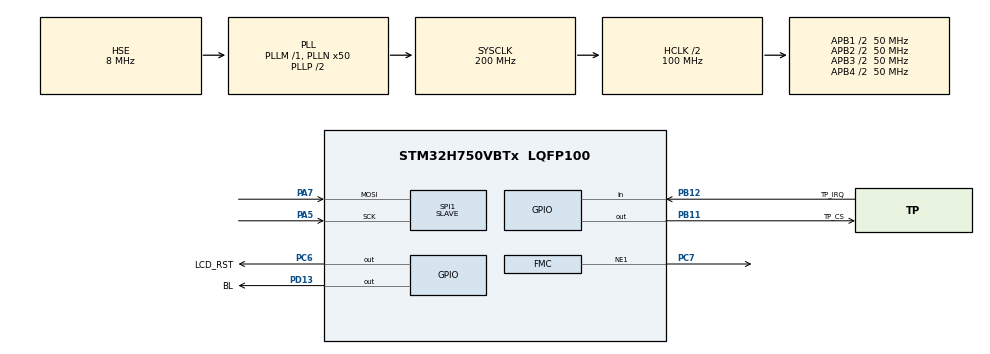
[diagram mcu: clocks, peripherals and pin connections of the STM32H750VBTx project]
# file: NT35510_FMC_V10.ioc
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Mcu.Family=STM32H7
Mcu.Name=STM32H750VBTx
Mcu.Package=LQFP100
NVIC.PriorityGroup=NVIC_PRIORITYGROUP_4
PA5.Mode=RX_Only_Simplex_Unidirect_Slave
PA5.Signal=SPI1_SCK
PA7.Mode=RX_Only_Simplex_Unidirect_Slave
PA7.Signal=SPI1_MOSI
PB11.GPIO_Label=TP_CS
PB11.Signal=GPIO_Output
PB12.GPIO_Label=TP_IRQ
PB12.Signal=GPIO_Input
PC6.GPIO_Label=LCD_RST
PC6.Signal=GPIO_Output
PC7.Mode=NorPsramChipSelect1_1
PC7.Signal=FMC_NE1
PD13.GPIO_Label=BL
PD13.Signal=GPIO_Output
PH0-OSC_IN\ (PH0).Mode=HSE-External-Oscillator
PH0-OSC_IN\ (PH0).Signal=RCC_OSC_IN
PH1-OSC_OUT\ (PH1).Mode=HSE-External-Oscillator
PH1-OSC_OUT\ (PH1).Signal=RCC_OSC_OUT
ProjectManager.HeapSize=0x200
ProjectManager.StackSize=0x400
ProjectManager.TargetToolchain=STM32CubeIDE
RCC.ADCFreq_Value=240000000
RCC.APB1Freq_Value=50000000
RCC.APB2Freq_Value=50000000
RCC.APB3Freq_Value=50000000
RCC.APB4Freq_Value=50000000
RCC.CortexFreq_Value=200000000
RCC.D1PPRE=RCC_APB3_DIV2
RCC.D2PPRE1=RCC_APB1_DIV2
RCC.D2PPRE2=RCC_APB2_DIV2
RCC.D3PPRE=RCC_APB4_DIV2
RCC.DIVM1=1
RCC.DIVM2=1
RCC.DIVM3=1
RCC.DIVN1=50
RCC.DIVN2=60
RCC.DIVN3=24
RCC.HCLKFreq_Value=100000000
RCC.HPRE=RCC_HCLK_DIV2
RCC.HSE_VALUE=8000000
RCC.PLL2FRACN=0
RCC.PLL3FRACN=0
RCC.PLLFRACN=0
RCC.PLLSourceVirtual=RCC_PLLSOURCE_HSE
RCC.SYSCLKFreq_VALUE=200000000
RCC.SYSCLKSource=RCC_SYSCLKSOURCE_PLLCLK
RCC.USBFreq_Value=200000000
SPI1.Direction=SPI_DIRECTION_2LINES_RXONLY
SPI1.Mode=SPI_MODE_SLAVE
SPI1.VirtualType=VM_SLAVE
board=custom

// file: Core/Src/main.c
/* USER CODE BEGIN Header */
/**
  ******************************************************************************
  * @file           : main.c
  * @brief          : Main program body
  ******************************************************************************
  * @attention
  *
  * <h2><center>&copy; Copyright (c) 2020 STMicroelectronics.
  * All rights reserved.</center></h2>
  *
  * This software component is licensed by ST under BSD 3-Clause license,
  * the "License"; You may not use this file except in compliance with the
  * License. You may obtain a copy of the License at:
  *                        opensource.org/licenses/BSD-3-Clause
  *
  ******************************************************************************
  */
/* USER CODE END Header */
#include "main.h"
#include "spi.h"
#include "gpio.h"
#include "fmc.h"

void SystemClock_Config(void);

/* USER CODE BEGIN 0 */
uint16_t colors[]={YELLOW,BLUE,RED,GREEN};
char *colors_desc[]={"Yellow","Blue","Red","Green"};
volatile uint8_t fps_test_run=0;

/*
Функция не учитывает все множество вариантов тактирования.
Предполагается, что тактируется от HSE, а тактирование FMC от PLL2R
*/
uint32_t get_fmc_clock(void){
	uint32_t div_m2,div_n2,div_r2;
	uint32_t fmc_clock;

	div_m2 = ( (RCC->PLLCKSELR & RCC_PLLCKSELR_DIVM2_Msk) >> RCC_PLLCKSELR_DIVM2_Pos);
	div_n2 = ( (RCC->PLL2DIVR & RCC_PLL2DIVR_N2_Msk) >> RCC_PLL2DIVR_N2_Pos) + 1;
	div_r2 = ( (RCC->PLL2DIVR & RCC_PLL2DIVR_R2_Msk) >> RCC_PLL2DIVR_R2_Pos) + 1;

	fmc_clock = ( (RCC_HSE / div_m2) * div_n2 ) / div_r2;
	return fmc_clock;
}
/* USER CODE END 0 */

int main(void)
{

  /* MCU Configuration--------------------------------------------------------*/

  /* Reset of all peripherals, Initializes the Flash interface and the Systick. */
  HAL_Init();

  /* Configure the system clock */
  SystemClock_Config();

  /* Initialize all configured peripherals */
  MX_GPIO_Init();
  MX_FMC_Init();
  MX_SPI1_Init();
  /* USER CODE BEGIN 2 */

	uint32_t fps;
	uint32_t color_index;

#ifndef FMC_REMAP_BANK
	MPU_Config();
#endif

	RCC_init();
	dwt_init();
	Delay_Init();
	timer2_init();

	SSD1963_Init(); //????????????????????

  /* USER CODE END 2 */

  /* Infinite loop */
  while (1)
  {

  }
}

void SystemClock_Config(void)
{
  RCC_OscInitTypeDef RCC_OscInitStruct = {0};
  RCC_ClkInitTypeDef RCC_ClkInitStruct = {0};
  RCC_PeriphCLKInitTypeDef PeriphClkInitStruct = {0};

  /** Supply configuration update enable
  */
  HAL_PWREx_ConfigSupply(PWR_LDO_SUPPLY);
  /** Configure the main internal regulator output voltage
  */
  __HAL_PWR_VOLTAGESCALING_CONFIG(PWR_REGULATOR_VOLTAGE_SCALE3);

  while(!__HAL_PWR_GET_FLAG(PWR_FLAG_VOSRDY)) {}
  /** Initializes the RCC Oscillators according to the specified parameters
  * in the RCC_OscInitTypeDef structure.
  */
  RCC_OscInitStruct.OscillatorType = RCC_OSCILLATORTYPE_HSE;
  RCC_OscInitStruct.HSEState = RCC_HSE_ON;
  RCC_OscInitStruct.PLL.PLLState = RCC_PLL_ON;
  RCC_OscInitStruct.PLL.PLLSource = RCC_PLLSOURCE_HSE;
  RCC_OscInitStruct.PLL.PLLM = 1;
  RCC_OscInitStruct.PLL.PLLN = 50;
  RCC_OscInitStruct.PLL.PLLP = 2;
  RCC_OscInitStruct.PLL.PLLQ = 2;
  RCC_OscInitStruct.PLL.PLLR = 2;
  RCC_OscInitStruct.PLL.PLLRGE = RCC_PLL1VCIRANGE_3;
  RCC_OscInitStruct.PLL.PLLVCOSEL = RCC_PLL1VCOWIDE;
  RCC_OscInitStruct.PLL.PLLFRACN = 0;
  if (HAL_RCC_OscConfig(&RCC_OscInitStruct) != HAL_OK)
  {
    Error_Handler();
  }
  /** Initializes the CPU, AHB and APB buses clocks
  */
  RCC_ClkInitStruct.ClockType = RCC_CLOCKTYPE_HCLK|RCC_CLOCKTYPE_SYSCLK
                              |RCC_CLOCKTYPE_PCLK1|RCC_CLOCKTYPE_PCLK2
                              |RCC_CLOCKTYPE_D3PCLK1|RCC_CLOCKTYPE_D1PCLK1;
  RCC_ClkInitStruct.SYSCLKSource = RCC_SYSCLKSOURCE_PLLCLK;
  RCC_ClkInitStruct.SYSCLKDivider = RCC_SYSCLK_DIV1;
  RCC_ClkInitStruct.AHBCLKDivider = RCC_HCLK_DIV2;
  RCC_ClkInitStruct.APB3CLKDivider = RCC_APB3_DIV2;
  RCC_ClkInitStruct.APB1CLKDivider = RCC_APB1_DIV2;
  RCC_ClkInitStruct.APB2CLKDivider = RCC_APB2_DIV2;
  RCC_ClkInitStruct.APB4CLKDivider = RCC_APB4_DIV2;

  if (HAL_RCC_ClockConfig(&RCC_ClkInitStruct, FLASH_LATENCY_1) != HAL_OK)
  {
    Error_Handler();
  }
  PeriphClkInitStruct.PeriphClockSelection = RCC_PERIPHCLK_SPI1|RCC_PERIPHCLK_FMC;
  PeriphClkInitStruct.FmcClockSelection = RCC_FMCCLKSOURCE_D1HCLK;
  PeriphClkInitStruct.Spi123ClockSelection = RCC_SPI123CLKSOURCE_PLL;
  if (HAL_RCCEx_PeriphCLKConfig(&PeriphClkInitStruct) != HAL_OK)
  {
    Error_Handler();
  }
}

void Error_Handler(void)
{
  __disable_irq();
  while (1)
  {
  }
}

/************************ (C) COPYRIGHT STMicroelectronics *****END OF FILE****/
